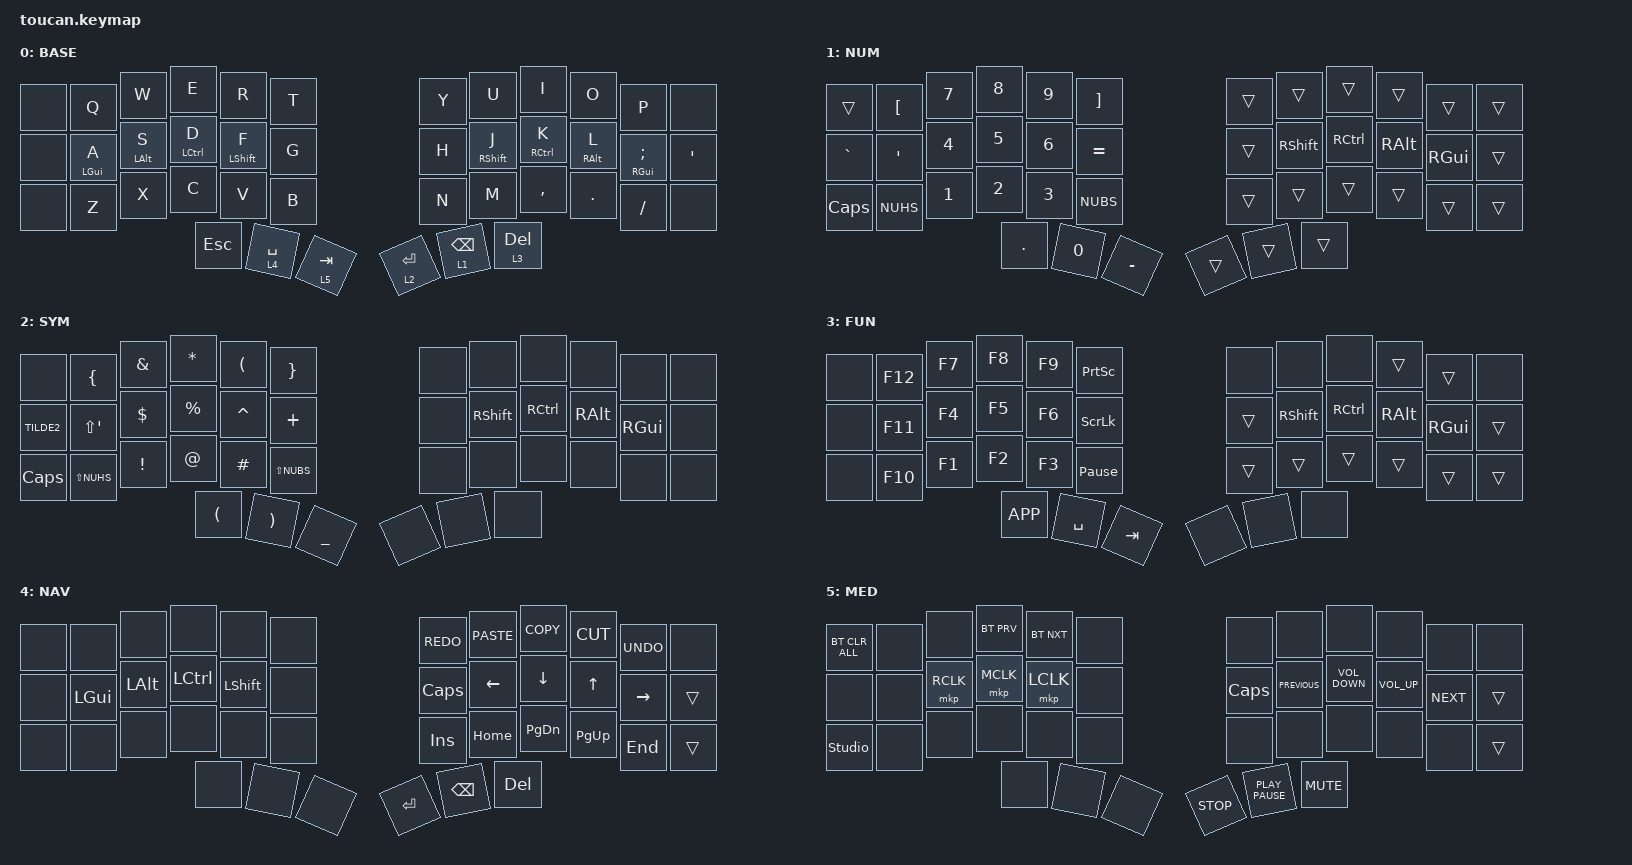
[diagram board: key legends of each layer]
#include <behaviors.dtsi>
#include <dt-bindings/zmk/bt.h>
#include <dt-bindings/zmk/keys.h>
#include <dt-bindings/zmk/pointing.h>

#define BASE 0
#define NAV  1
#define SYM  2
#define ADJ  3

/ {
    conditional_layers { compatible = "zmk,conditional-layers"; };

    keymap {
        compatible = "zmk,keymap";

        base {
            display-name = "BASE";
            bindings = <
&none  &kp Q  &kp W  &kp E  &kp R  &kp T  &kp Y  &kp U  &kp I  &kp O  &kp P  &none  &none  &mt LEFT_GUI A  &mt LEFT_ALT S  &mt LCTRL D  &mt LSHFT F  &kp G  &kp H  &mt RSHFT J  &mt RCTRL K  &mt RIGHT_ALT L  &mt RIGHT_GUI SEMI  &kp SQT  &none  &kp Z  &kp X  &kp C  &kp V  &kp B  &kp N  &kp M  &kp COMMA  &kp DOT  &kp FSLH  &none  &kp ESC  &lt 4 SPACE  &lt 5 TAB  &lt 2 ENTER  &lt 1 BACKSPACE  &lt 3 DEL
            >;
        };

        num {
            display-name = "NUM";
            bindings = <
&trans  &kp LBKT  &kp NUMBER_7  &kp NUMBER_8  &kp NUMBER_9  &kp RBKT  &trans  &trans  &trans  &trans  &trans  &trans  &kp GRAVE  &kp APOS  &kp NUMBER_4  &kp NUMBER_5  &kp NUMBER_6  &kp EQUAL  &trans  &kp RIGHT_SHIFT  &kp RCTRL  &kp RIGHT_ALT  &kp RIGHT_GUI  &trans  &kp CAPSLOCK  &kp NUHS  &kp NUMBER_1  &kp NUMBER_2  &kp NUMBER_3  &kp NUBS  &trans  &trans  &trans  &trans  &trans  &trans  &kp PERIOD  &kp NUMBER_0  &kp MINUS  &trans  &trans  &trans
            >;
        };

        sym {
            display-name = "SYM";
            bindings = <
&none  &kp LEFT_BRACE  &kp AMPERSAND  &kp ASTERISK  &kp LEFT_PARENTHESIS  &kp RIGHT_BRACE  &none  &none  &none  &none  &none  &none  &kp TILDE2  &kp LS(APOS)  &kp DOLLAR  &kp PERCENT  &kp CARET  &kp PLUS  &none  &kp RIGHT_SHIFT  &kp RCTRL  &kp RIGHT_ALT  &kp RIGHT_GUI  &none  &kp CAPSLOCK  &kp LS(NUHS)  &kp EXCLAMATION  &kp AT_SIGN  &kp POUND  &kp LS(NUBS)  &none  &none  &none  &none  &none  &none  &kp LEFT_PARENTHESIS  &kp RIGHT_PARENTHESIS  &kp UNDER  &none  &none  &none
            >;
        };

        fun {
            display-name = "FUN";
            bindings = <
&none  &kp F12  &kp F7  &kp F8  &kp F9  &kp PSCRN  &none  &none  &none  &trans  &trans  &none  &none  &kp F11  &kp F4  &kp F5  &kp F6  &kp SCROLLLOCK  &trans  &kp RIGHT_SHIFT  &kp RCTRL  &kp RIGHT_ALT  &kp RIGHT_GUI  &trans  &none  &kp F10  &kp F1  &kp F2  &kp F3  &kp PAUSE_BREAK  &trans  &trans  &trans  &trans  &trans  &trans  &kp K_APP  &kp SPACE  &kp TAB  &none  &none  &none
            >;
        };

        nav {
            display-name = "NAV";
            bindings = <
&none  &none  &none  &none  &none  &none  &kp K_REDO  &kp K_PASTE  &kp K_COPY  &kp K_CUT  &kp K_UNDO  &none  &none  &kp LEFT_GUI  &kp LEFT_ALT  &kp LCTRL  &kp LEFT_SHIFT  &none  &kp CAPS  &kp LEFT_ARROW  &kp DOWN_ARROW  &kp UP_ARROW  &kp RIGHT_ARROW  &trans  &none  &none  &none  &none  &none  &none  &kp INSERT  &kp HOME  &kp PAGE_DOWN  &kp PAGE_UP  &kp END  &trans  &none  &none  &none  &kp ENTER  &kp BACKSPACE  &kp DELETE
            >;
        };

        media {
            display-name = "MED";
            bindings = <
&bt BT_CLR_ALL  &none  &none  &bt BT_PRV  &bt BT_NXT  &none  &none  &none  &none  &none  &none  &none  &none  &none  &mkp RCLK  &mkp MCLK  &mkp LCLK  &none  &kp CAPS  &kp K_PREVIOUS  &kp C_VOLUME_DOWN  &kp C_VOLUME_UP  &kp K_NEXT  &trans  &studio_unlock  &none  &none  &none  &none  &none  &none  &none  &none  &none  &none  &trans  &none  &none  &none  &kp K_STOP  &kp K_PLAY_PAUSE  &kp K_MUTE
            >;
        };
    };
};
